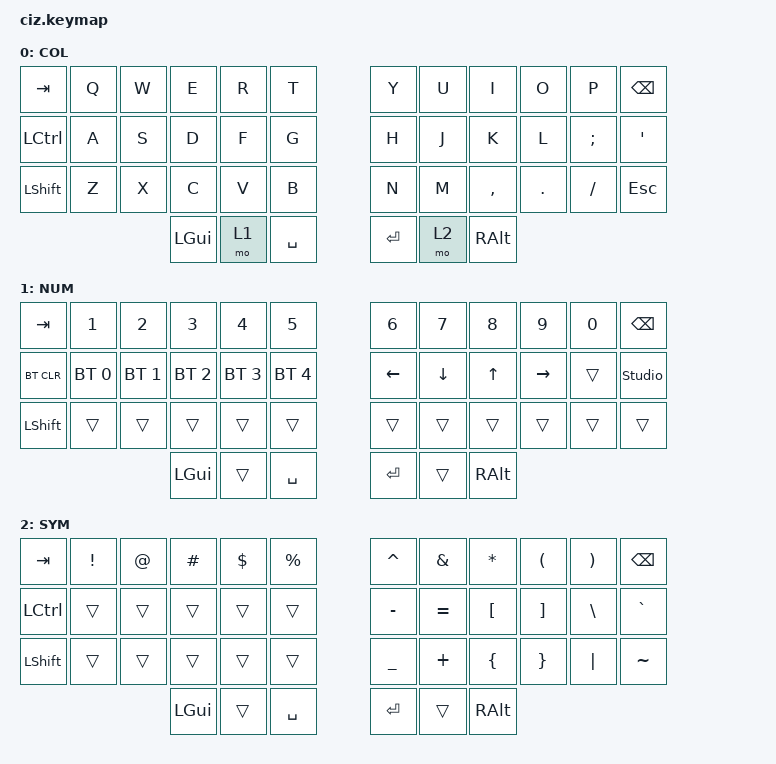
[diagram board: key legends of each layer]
#include <behaviors.dtsi>
#include <dt-bindings/zmk/keys.h>
#include <dt-bindings/zmk/bt.h>

/ {
    chosen {
        zmk,physical-layout = &foostan_corne_6col_layout;
        // zmk,physical-layout = &foostan_corne_5col_layout;
    };
};

/ {
    keymap {
        compatible = "zmk,keymap";

        default_layer {
            display-name = "COL";
// --------------------------------------------------------------------------------
// |  TAB |  Q  |  W  |  F  |  P  |  G  |   |  J  |  L   |  U  |  Y  |  :  | BSPC |
// | CTRL |  A  |  R  |  S  |  T  |  D  |   |  H  |  N   |  E  |  I  |  O  | DEL  |
// | SHFT |  Z  |  X  |  C  |  V  |  B  |   |  K  |  M   |  ,  |  .  |  /  | ESC  |
//                    | GUI | LWR | SPC |   | ENT | RSE  | ALT |
            bindings = <
&kp TAB   &kp Q &kp W &kp E &kp R &kp T   &kp Y &kp U  &kp I     &kp O   &kp P    &kp BSPC
&kp LCTRL &kp A &kp S &kp D &kp F &kp G   &kp H &kp J  &kp K     &kp L   &kp SEMI &kp SQT
&kp LSHFT &kp Z &kp X &kp C &kp V &kp B   &kp N &kp M  &kp COMMA &kp DOT &kp FSLH &kp ESC
               &kp LGUI &mo 1 &kp SPACE   &kp RET &mo 2 &kp RALT
            >;
        };

        lower_layer {
            display-name = "NUM";
// -----------------------------------------------------------------------------------------
// |  TAB |  1  |  2  |  3  |  4  |  5  |   |     |  7  |  8  |  9  | + | BSPC |
// | BTCLR| BT1 | BT2 | BT3 | BT4 | BT5 |   |     |  4  |  5  |  6  | / |  *   |
// | SHFT |     |     |     |     |     |   |     |  1  |  2  |  3  | . |      |
//                    | GUI |     | SPC |   | ENT |  0  | ALT |
            bindings = <
&kp TAB    &kp N1       &kp N2       &kp N3       &kp N4       &kp N5         &kp N6   &kp N7   &kp N8 &kp N9    &kp N0 &kp BSPC
&bt BT_CLR &bt BT_SEL 0 &bt BT_SEL 1 &bt BT_SEL 2 &bt BT_SEL 3 &bt BT_SEL 4   &kp LEFT &kp DOWN &kp UP &kp RIGHT &trans &studio_unlock
&kp LSHFT  &trans       &trans       &trans       &trans       &trans         &trans   &trans   &trans &trans    &trans &trans
                                     &kp LGUI     &trans       &kp SPACE      &kp RET  &trans   &kp RALT
            >;
        };

        raise_layer {
            display-name = "SYM";
// -----------------------------------------------------------------------------------------
// |  TAB |  !  |  @  |  #  |  $  |  %  |   |  ^  |  &  |  *  |  (  |  )  | BSPC |
// | CTRL |     |     |     |     |     |   |  -  |  =  |  [  |  ]  |  \  |  `   |
// | SHFT |     |     |     |     |     |   |  _  |  +  |  {  |  }  | "|" |  ~   |
//                    | GUI |     | SPC |   | ENT |     | ALT |
            bindings = <
&kp  TAB  &kp EXCL &kp AT &kp HASH &kp DLLR &kp PRCNT   &kp CARET &kp AMPS  &kp ASTRK &kp LPAR &kp RPAR &kp BSPC
&kp LCTRL &trans   &trans &trans   &trans   &trans      &kp MINUS &kp EQUAL &kp LBKT  &kp RBKT &kp BSLH &kp GRAVE
&kp LSHFT &trans   &trans &trans   &trans   &trans      &kp UNDER &kp PLUS  &kp LBRC  &kp RBRC &kp PIPE &kp TILDE
                          &kp LGUI &trans   &kp SPACE   &kp RET   &trans    &kp RALT
            >;
        };
    };
};
